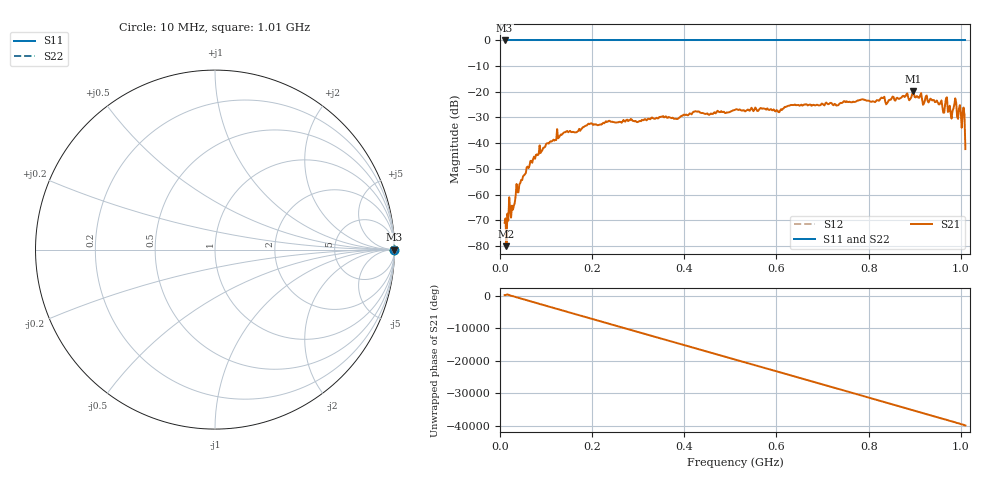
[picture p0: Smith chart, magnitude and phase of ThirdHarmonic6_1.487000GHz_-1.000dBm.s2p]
! 8/16/2025 5:24:41 PM
! C:\ANRITSUVNA\TEMP\TEMP.S2P
! CHANNEL.1
! TR.MEASUREMENT
! RAW.DATA
! RF.CORRECTION.OFF
! AVERAGING.OFF
! IF.BANDWIDTH: 5KHZ
! SWEEPTYPE:  FREQ.SWEEP(Linear)
! Reference Plane Port Info
! PORT:  PORT1  PORT2
! DISTANCE:  0  m  0  m
! TIME:  0  s  0  s
! PHASE.OFFSET:  0  deg.  0  deg.
! LOSS:  0  dB  0  dB
! REF.LOSS:  0  dB  0  dB
! REF.FREQ:  0  Hz  0  Hz
! Power Info
! POWER:  -20  dBm  -20  dBm
! EFF.POWER:  -20  dBm  -20  dBm
! SOURCE.ATTEN:  0  dB  0  dB
! TEST.ATTEN:  0  dB  0  dB
# GHZ S RI R 50.0
! FREQ.GHZ  S11RE  S11IM  S21RE  S21IM  S12RE  S12IM  S22RE  S22IM
!; PortSelection: Port_12
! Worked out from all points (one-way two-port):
!   501 points, 10 MHz to 1.01 GHz, reference 50 ohm
!   highest |S21| = -19.85 dB at 896 MHz (marker M1); lowest = -80.1 dB at 14 MHz (marker M2)
!   lowest |S11| = 0.0 dB at 10 MHz (marker M3)
!   |S11| at or under -10 dB: nowhere
!   |S22| runs from 0.0 to 0.0 dB; largest |S21 - S12| = 1.1
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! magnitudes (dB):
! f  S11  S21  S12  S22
! 10 MHz  0.0  -71.0  0.0  0.0
! 14 MHz  0.0  -80.1  0.0  0.0
! 20 MHz  0.0  -61.0  0.0  0.0
! 28 MHz  0.0  -65.9  0.0  0.0
! 46 MHz  0.0  -54.3  0.0  0.0
! 82 MHz  0.0  -44.7  0.0  0.0
! 128 MHz  0.0  -37.8  0.0  0.0
! 178 MHz  0.0  -34.2  0.0  0.0
! 196 MHz  0.0  -32.4  0.0  0.0
! 344 MHz  0.0  -30.3  0.0  0.0
! 510 MHz  0.0  -27.0  0.0  0.0
! 602 MHz  0.0  -27.3  0.0  0.0
! 630 MHz  0.0  -25.2  0.0  0.0
! 678 MHz  0.0  -25.2  0.0  0.0
! 844 MHz  0.0  -23.2  0.0  0.0
! 896 MHz  0.0  -19.9  0.0  0.0
! 962 MHz  0.0  -28.1  0.0  0.0
! 972 MHz  0.0  -27.9  0.0  0.0
! 976 MHz  0.0  -25.4  0.0  0.0
! 986 MHz  0.0  -24.9  0.0  0.0
! 1.004 GHz  0.0  -28.4  0.0  0.0
! 1.01 GHz  0.0  -42.3  0.0  0.0
